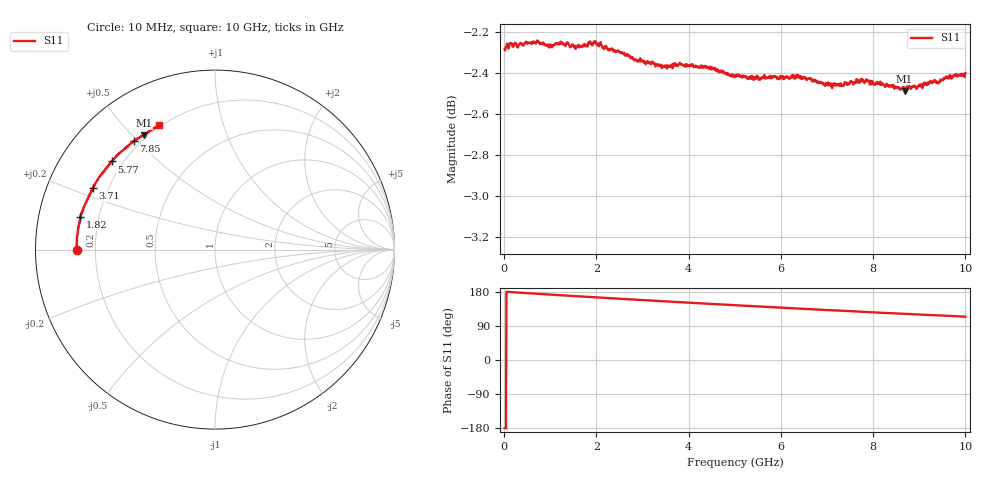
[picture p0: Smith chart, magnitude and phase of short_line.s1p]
!Keysight Technologies,N5247B,MY60213743,A.16.20.04
!Date: Thursday, June 05, 2025 15:03:15
!Correction: S11(C  1-Port  )
!S1P File: Measurement: S11:
# Hz S  RI  R 50
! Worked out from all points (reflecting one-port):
!   1000 points, 10 MHz to 10 GHz, reference 50 ohm
!   lowest |S11| = -2.5 dB at 8.68 GHz (marker M1), VSWR 7.03, Z = 9.25 + j27 ohm
!   phase of S11 starts at -180 deg and turns -66 deg over the sweep
!   S11 on the Smith chart (normalised r, x): 10 MHz: 0.13, -0.00; 1.82 GHz: 0.13, +0.12; 3.71 GHz: 0.14, +0.23; 5.77 GHz: 0.16, +0.36; 7.85 GHz: 0.17, +0.49; 10 GHz: 0.19, +0.63
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1e7  -0.7687 -0.003
1.1e8  -0.7705 0.0066
6.8e8  -0.7687 0.0669
1.01e9  -0.7638 0.1001
1.26e9  -0.761 0.1248
1.58e9  -0.7538 0.1561
1.82e9  -0.7499 0.1805
1.99e9  -0.7469 0.1949
2.51e9  -0.7282 0.2428
2.88e9  -0.7133 0.2738
3.71e9  -0.68 0.3431
3.76e9  -0.6773 0.3481
4.32e9  -0.6523 0.3918
5.01e9  -0.6169 0.439
5.77e9  -0.5765 0.4911
6.26e9  -0.5486 0.5226
6.6e9  -0.5271 0.5422
6.96e9  -0.5039 0.5596
7.32e9  -0.4853 0.5758
7.51e9  -0.4735 0.5881
7.85e9  -0.4517 0.6061
8.33e9  -0.4188 0.6261
8.68e9  -0.3967 0.6377
8.76e9  -0.3916 0.6421
8.94e9  -0.3803 0.6486
9.26e9  -0.3617 0.6619
9.76e9  -0.3288 0.6826
1e10  -0.3111 0.6918
